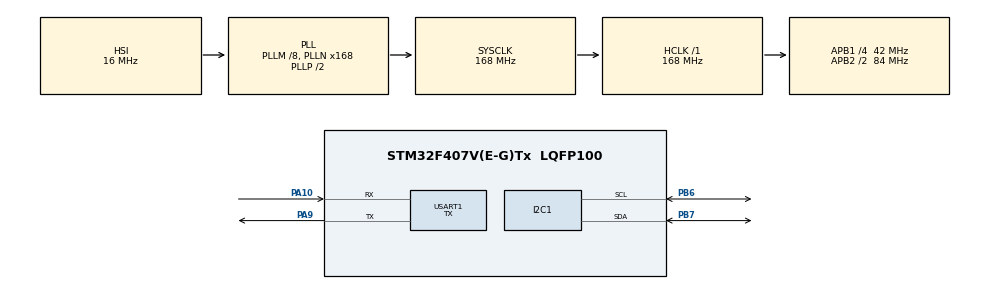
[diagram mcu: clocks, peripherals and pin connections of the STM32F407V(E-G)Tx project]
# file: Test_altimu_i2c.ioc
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I2C1.DutyCycle=I2C_DUTYCYCLE_16_9
I2C1.I2C_Mode=I2C_Fast
Mcu.Family=STM32F4
Mcu.Name=STM32F407V(E-G)Tx
Mcu.Package=LQFP100
NVIC.PriorityGroup=NVIC_PRIORITYGROUP_4
PA10.Mode=Asynchronous
PA10.Signal=USART1_RX
PA9.Mode=Asynchronous
PA9.Signal=USART1_TX
PB6.Mode=I2C
PB6.Signal=I2C1_SCL
PB7.Mode=I2C
PB7.Signal=I2C1_SDA
ProjectManager.HeapSize=0x200
ProjectManager.StackSize=0x400
ProjectManager.TargetToolchain=MDK-ARM V5
RCC.48MHZClocksFreq_Value=84000000
RCC.AHBFreq_Value=168000000
RCC.APB1CLKDivider=RCC_HCLK_DIV4
RCC.APB1Freq_Value=42000000
RCC.APB1TimFreq_Value=84000000
RCC.APB2CLKDivider=RCC_HCLK_DIV2
RCC.APB2Freq_Value=84000000
RCC.APB2TimFreq_Value=168000000
RCC.CortexFreq_Value=168000000
RCC.HCLKFreq_Value=168000000
RCC.HSE_VALUE=25000000
RCC.HSI_VALUE=16000000
RCC.LSE_VALUE=32768
RCC.PLLM=8
RCC.PLLN=168
RCC.SYSCLKFreq_VALUE=168000000
RCC.SYSCLKSource=RCC_SYSCLKSOURCE_PLLCLK
RCC.VCOOutputFreq_Value=336000000
USART1.Mode=MODE_TX
USART1.VirtualMode=VM_ASYNC
board=Test_altimu_i2c

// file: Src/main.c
/**
  ******************************************************************************
  * @file           : main.c
  * @brief          : Main program body
  ******************************************************************************
  ** This notice applies to any and all portions of this file
  * that are not between comment pairs USER CODE BEGIN and
  * USER CODE END. Other portions of this file, whether
  * inserted by the user or by software development tools
  * are owned by their respective copyright owners.
  *
  * COPYRIGHT(c) 2018 STMicroelectronics
  *
  * Redistribution and use in source and binary forms, with or without modification,
  * are permitted provided that the following conditions are met:
  *   1. Redistributions of source code must retain the above copyright notice,
  *      this list of conditions and the following disclaimer.
  *   2. Redistributions in binary form must reproduce the above copyright notice,
  *      this list of conditions and the following disclaimer in the documentation
  *      and/or other materials provided with the distribution.
  *   3. Neither the name of STMicroelectronics nor the names of its contributors
  *      may be used to endorse or promote products derived from this software
  *      without specific prior written permission.
  *
  * THIS SOFTWARE IS PROVIDED BY THE COPYRIGHT HOLDERS AND CONTRIBUTORS "AS IS"
  * AND ANY EXPRESS OR IMPLIED WARRANTIES, INCLUDING, BUT NOT LIMITED TO, THE
  * IMPLIED WARRANTIES OF MERCHANTABILITY AND FITNESS FOR A PARTICULAR PURPOSE ARE
  * DISCLAIMED. IN NO EVENT SHALL THE COPYRIGHT HOLDER OR CONTRIBUTORS BE LIABLE
  * FOR ANY DIRECT, INDIRECT, INCIDENTAL, SPECIAL, EXEMPLARY, OR CONSEQUENTIAL
  * DAMAGES (INCLUDING, BUT NOT LIMITED TO, PROCUREMENT OF SUBSTITUTE GOODS OR
  * SERVICES; LOSS OF USE, DATA, OR PROFITS; OR BUSINESS INTERRUPTION) HOWEVER
  * CAUSED AND ON ANY THEORY OF LIABILITY, WHETHER IN CONTRACT, STRICT LIABILITY,
  * OR TORT (INCLUDING NEGLIGENCE OR OTHERWISE) ARISING IN ANY WAY OUT OF THE USE
  * OF THIS SOFTWARE, EVEN IF ADVISED OF THE POSSIBILITY OF SUCH DAMAGE.
  *
  ******************************************************************************
  */
#include "main.h"
#include "stm32f4xx_hal.h"
/* USER CODE BEGIN Includes */
#include <math.h>
//#include <conio.h>
/* USER CODE END Includes */

I2C_HandleTypeDef hi2c1;

UART_HandleTypeDef huart1;

/* USER CODE BEGIN PV */
/* Private variables ---------------------------------------------------------*/

/* THIS CODE IS WRITTEN FOR ON STM32F407
 * USING 12C1 AT FAST MODE
 * USING USART1 AT 115200 BAUDRATE
 * SCL PB6
 * SDA PB7
 * VIN VCC
 * GND GND
 * SA0 GND
 */

/*** LPS25H Barometer DEFINED USING DATASHEET***/
#define LPS_HIGH_ADDRESS  		0x5D<<1
#define LPS_LOW_ADDRESS  			0x5C<<1
#define WHO_AM_I_REG_LPS   	 	0x0F	//0xBD

#define REF_P_XL_LPS 					0x08
#define REF_P_L_LPS 					0x09
#define REF_P_H_LPS 					0x0A

#define RES_CONF_LPS    			0x10

#define CTRL1_REG_LPS					0x20
#define CTRL2_REG_LPS					0x21
#define CTRL3_REG_LPS					0x22
#define CTRL4_REG_LPS					0x23

#define STATUS_REG_LPS				0x27

#define PRESS_OUT_XL_LPS			0x28
#define PRESS_OUT_L_LPS				0x29
#define PRESS_OUT_H_LPS				0X2A

#define TEMP_OUT_L_LPS    		0X2B
#define TEMP_OUT_H_LPS    		0X2C

#define FIFO_CTRL_LPS					0x2E
#define FIFO_STATUS_LPS				0x2F

#define RPDS_L_LPS						0x39
#define RPDS_H_LPS						0x3A

#define LPS25H_INTERRUPT_CFG  0x24
#define LPS25H_INT_SOURCE     0x25
#define LPS25H_THS_P_L        0x30
#define LPS25H_THS_P_H			  0x31

/*** LIS3MDL Magnetometer DEFINED USING DATASHEET***/
#define LIS_HIGH_ADDRESS  		0x1E<<1
#define LIS_LOW_ADDRESS   		0x1C<<1
#define WHO_AM_I_REG_LIS  		0x0F	// 0x3D

#define CTRL_REG1_LIS   			0x20
#define CTRL_REG2_LIS   			0x21
#define CTRL_REG3_LIS   			0x22
#define CTRL_REG4_LIS   			0x23
#define CTRL_REG5_LIS   			0x24

#define STATUS_REG_LIS  			0x27
#define OUT_X_L_LIS     			0x28
#define OUT_X_H_LIS     			0x29
#define OUT_Y_L_LIS     			0x2A
#define OUT_Y_H_LIS     			0x2B
#define OUT_Z_L_LIS     			0x2C
#define OUT_Z_H_LIS     			0x2D
#define TEMP_OUT_L_LIS  			0x2E
#define TEMP_OUT_H_LIS  			0x2F
#define INT_CFG_LIS     			0x30
#define INT_SRC_LIS     			0x31
#define INT_THS_L_LIS   			0x32
#define INT_THS_H_LIS   			0x33

/*** LSM6DS33 Gyro and Accelerometer DEFINED USING DATASHEET***/
#define LSM_HIGH_ADDRESS  		0x6B<<1
#define LSM_LOW_ADDRESS   		0x6A<<1
#define WHO_AM_I_LSM          0x0F	// 0x69

#define FUNC_CFG_ACCESS_LSM   0x01
#define FIFO_CTRL1_LSM        0x06
#define FIFO_CTRL2_LSM        0x07
#define FIFO_CTRL3_LSM        0x08
#define FIFO_CTRL4_LSM        0x09
#define FIFO_CTRL5_LSM        0x0A
#define ORIENT_CFG_G_LSM      0x0B

#define INT1_CTRL_LSM         0x0D
#define INT2_CTRL_LSM         0x0E
#define CTRL1_XL_LSM          0x10
#define CTRL2_G_LSM           0x11
#define CTRL3_C_LSM           0x12
#define CTRL4_C_LSM           0x13
#define CTRL5_C_LSM           0x14
#define CTRL6_C_LSM           0x15
#define CTRL7_G_LSM           0x16
#define CTRL8_XL_LSM          0x17
#define CTRL9_XL_LSM          0x18
#define CTRL10_C_LSM          0x19

#define WAKE_UP_SRC_LSM       0x1B
#define TAP_SRC_LSM           0x1C
#define D6D_SRC_LSM           0x1D
#define STATUS_REG_LSM        0x1E

#define OUT_TEMP_L_LSM        0x20
#define OUT_TEMP_H_LSM        0x21
#define OUTX_L_G_LSM          0x22
#define OUTX_H_G_LSM          0x23
#define OUTY_L_G_LSM          0x24
#define OUTY_H_G_LSM          0x25
#define OUTZ_L_G_LSM          0x26
#define OUTZ_H_G_LSM          0x27
#define OUTX_L_XL_LSM         0x28
#define OUTX_H_XL_LSM         0x29
#define OUTY_L_XL_LSM         0x2A
#define OUTY_H_XL_LSM         0x2B
#define OUTZ_L_XL_LSM         0x2C
#define OUTZ_H_XL_LSM         0x2D

#define FIFO_STATUS1_LSM      0x3A
#define FIFO_STATUS2_LSM      0x3B
#define FIFO_STATUS3_LSM      0x3C
#define FIFO_STATUS4_LSM      0x3D
#define FIFO_DATA_OUT_L_LSM   0x3E
#define FIFO_DATA_OUT_H_LSM   0x3F
#define TIMESTAMP0_REG_LSM    0x40
#define TIMESTAMP1_REG_LSM    0x41
#define TIMESTAMP2_REG_LSM    0x42

#define STEP_TIMESTAMP_L_LSM  0x49
#define STEP_TIMESTAMP_H_LSM  0x4A
#define STEP_COUNTER_L_LSM    0x4B
#define STEP_COUNTER_H_LSM    0x4C

#define FUNC_SRC_LSM         0x53

#define TAP_CFG_LSM           0x58
#define TAP_THS_6D_LSM        0x59
#define INT_DUR2_LSM          0x5A
#define WAKE_UP_THS_LSM       0x5B
#define WAKE_UP_DUR_LSM       0x5C
#define FREE_FALL_LSM         0x5D
#define MD1_CFG_LSM           0x5E
#define MD2_CFG_LSM           0x5F

uint8_t devAdd_LPS = LPS_HIGH_ADDRESS;
uint8_t devAdd_LIS = LIS_HIGH_ADDRESS;
uint8_t devAdd_LSM = LSM_HIGH_ADDRESS;
uint8_t rxBuf[3];

/* USER CODE END PV */

void SystemClock_Config(void);
static void MX_GPIO_Init(void);
static void MX_I2C1_Init(void);
static void MX_USART1_UART_Init(void);

/* USER CODE BEGIN PFP */
/* Private function prototypes -----------------------------------------------*/

#ifdef __GNUC__
  /* With GCC/RAISONANCE, small printf (option LD Linker->Libraries->Small printf
     set to 'Yes') calls __io_putchar() */
  #define PUTCHAR_PROTOTYPE int __io_putchar(int ch)
#else
  #define PUTCHAR_PROTOTYPE int fputc(int ch, FILE *f)
#endif /* __GNUC__ */

/**
* @brief Retargets the C library printf function to the USART.
* @param None
* @retval None*/
PUTCHAR_PROTOTYPE {
	HAL_UART_Transmit(&huart1, (uint8_t*)&ch, 1, 100);
	return ch;
}

/*****************LPS*****************/
void LPS_init() {
	uint8_t rxBuffer[2];
	uint8_t txdata[2];
	// PAGE 24 DATASHEET
	// WHO AM I, 0xBD - 189
	txdata[0] = WHO_AM_I_REG_LPS;
	HAL_I2C_Master_Transmit(&hi2c1, devAdd_LPS, &txdata[0], 1, 100);
	HAL_Delay(10);
	HAL_I2C_Master_Receive(&hi2c1, devAdd_LPS, rxBuffer, 1, 100);
	HAL_Delay(10);
	printf("Who Am I : 0x%x\n\r",rxBuffer[0]);

	// PAGE 24 DATASHEET
	// 0xB0 = 0b10110000
	// PD = 1 (active mode);  ODR = 011 (12.5 Hz pressure & temperature output data rate)
	txdata[0] = CTRL1_REG_LPS;
	txdata[1] = 0xB0;
	HAL_I2C_Master_Transmit(&hi2c1, devAdd_LPS, txdata, 2, 100);
	HAL_Delay(10);
	HAL_I2C_Master_Receive(&hi2c1, devAdd_LPS, rxBuffer, 2, 100);
	HAL_Delay(10);

}

// reads pressure in millibars (mbar)/hectopascals (hPa)
float readPressure() {
	// PAGE 33 DATASHEET
	// assert MSB to enable register address auto-increment
	uint8_t rxBuffer[3];
	uint8_t register_pointer = PRESS_OUT_XL_LPS | (1<<7);
	HAL_I2C_Master_Transmit(&hi2c1, devAdd_LPS, &register_pointer, 1, 100);
	HAL_Delay(20);
	HAL_I2C_Master_Receive(&hi2c1, devAdd_LPS, rxBuffer, 3, 100);
	HAL_Delay(20);

	float readVal = (int32_t)(int8_t)rxBuffer[2]<<16 | (uint16_t)rxBuffer[1]<<8 | rxBuffer[0];
	return (float)readVal / 4096;

}

// converts pressure in mbar to altitude in meters, using 1976 US
// Standard Atmosphere model (note that this formula only applies to a
// height of 11 km, or about 36000 ft)
//  If altimeter setting (QNH, barometric pressure adjusted to sea
//  level) is given, this function returns an indicated altitude
//  compensated for actual regional pressure; otherwise, it returns
//  the pressure altitude above the standard pressure level of 1013.25
//  mbar or 29.9213 inHg
float pressureToAltitudeMeters(float pressure_mbar){

	return (float)(1 - pow(pressure_mbar / 1013, 0.190263)) * 44330.8;

}

float readTemperature() {
	// PAGE 34 DATASHEET
	// assert MSB to enable register address auto-increment
	uint8_t rxBuffer[2];
	uint8_t register_pointer = TEMP_OUT_L_LPS | (1 << 7);
	HAL_I2C_Master_Transmit(&hi2c1, devAdd_LPS, &register_pointer, 1, 100);
	HAL_Delay(20);
	HAL_I2C_Master_Receive(&hi2c1, devAdd_LPS, rxBuffer, 2, 100);
	HAL_Delay(20);

	float readVal = (int16_t)(rxBuffer[1] << 8 | rxBuffer[0]);
	return (float)(42.5 + (float)readVal / 480);

}

/*****************LIS*****************
Enables the LIS3MDL's magnetometer. Also:
- Selects ultra-high-performance mode for all axes
- Sets ODR (output data rate) to default power-on value of 10 Hz
- Sets magnetometer full scale (gain) to default power-on value of +/- 4 gauss
- Enables continuous conversion mode
Note that this function will also reset other settings controlled by
the registers it writes to.
*/
void LIS_init() {
	uint8_t rxBuffer[2];
	uint8_t txdata[2];
	// PAGE 24 DATASHEET
	// WHO AM I, 0x3D - 61
	txdata[0] = WHO_AM_I_REG_LIS;
	HAL_I2C_Master_Transmit(&hi2c1, devAdd_LIS, &txdata[0], 1, 100);
	HAL_Delay(10);
	HAL_I2C_Master_Receive(&hi2c1, devAdd_LIS, rxBuffer, 1, 100);
	HAL_Delay(10);
	printf("Who Am I : 0x%x\n\r",rxBuffer[0]);

	// 0x70 = 0b01110000
	// OM = 11 (ultra-high-performance mode for X and Y); DO = 100 (10 Hz ODR)
	txdata[0] = CTRL_REG1_LIS;
	txdata[1] = 0x70;
	HAL_I2C_Master_Transmit(&hi2c1, devAdd_LIS, txdata, 2, 100);
	HAL_Delay(10);
	HAL_I2C_Master_Receive(&hi2c1, devAdd_LIS, rxBuffer, 2, 100);
	HAL_Delay(10);

	// 0x00 = 0b00000000
	// FS = 00 (+/- 4 gauss full scale)
	txdata[0] = CTRL_REG2_LIS;
	txdata[1] = 0x00;
	HAL_I2C_Master_Transmit(&hi2c1, devAdd_LIS, txdata, 2, 100);
	HAL_Delay(10);
	HAL_I2C_Master_Receive(&hi2c1, devAdd_LIS, rxBuffer, 2, 100);
	HAL_Delay(10);

	// 0x00 = 0b00000000
	// MD = 00 (continuous-conversion mode)
	txdata[0] = CTRL_REG3_LIS;
	txdata[1] = 0x00;
	HAL_I2C_Master_Transmit(&hi2c1, devAdd_LIS, txdata, 2, 100);
	HAL_Delay(10);
	HAL_I2C_Master_Receive(&hi2c1, devAdd_LIS, rxBuffer, 2, 100);
	HAL_Delay(10);

	// 0x0C = 0b00001100
	// OMZ = 11 (ultra-high-performance mode for Z)
	txdata[0] = CTRL_REG4_LIS;
	txdata[1] = 0x0C;
	HAL_I2C_Master_Transmit(&hi2c1, devAdd_LIS, txdata, 2, 100);
	HAL_Delay(10);
	HAL_I2C_Master_Receive(&hi2c1, devAdd_LIS, rxBuffer, 2, 100);
	HAL_Delay(10);

}

//read magnometer
void readLIS(){
//	uint16_t *m = malloc(3)
	uint8_t rxBuffer[6];
	uint8_t register_pointer = OUT_X_L_LIS | 0x80;
	HAL_I2C_Master_Transmit(&hi2c1, devAdd_LIS, &register_pointer, 1, 100);
	HAL_Delay(20);
	HAL_I2C_Master_Receive(&hi2c1, devAdd_LIS, rxBuffer, 6, 100);
	HAL_Delay(20);
	uint8_t xlm = rxBuffer[0];
	uint8_t xhm = rxBuffer[1];
	uint8_t ylm = rxBuffer[2];
	uint8_t yhm = rxBuffer[3];
	uint8_t zlm = rxBuffer[4];
	uint8_t zhm = rxBuffer[5];

	int16_t m[3];
	m[0] = (int16_t)(xhm<<8 | xlm);
	m[1] = (int16_t)(yhm<<8 | ylm);
	m[2] = (int16_t)(zhm<<8 | zlm);
	printf("Mag - x: %i, y: %i, z:%i\n\r",m[0], m[1], m[2]);

}

/*****************LSM*****************
Enables the LSM6's accelerometer and gyro. Also:
- Sets sensor full scales (gain) to default power-on values, which are
  +/- 2 g for accelerometer and 245 dps for gyro
- Selects 1.66 kHz (high performance) ODR (output data rate) for accelerometer
  and 1.66 kHz (high performance) ODR for gyro. (These are the ODR settings for
  which the electrical characteristics are specified in the datasheet.)
- Enables automatic increment of register address during multiple byte access
Note that this function will also reset other settings controlled by
the registers it writes to.
*/
void LSM_init() {
	uint8_t rxBuffer[2];
	uint8_t txdata[2];

	// WHO AM I, 0x69, 105
	txdata[0] = WHO_AM_I_LSM;
	HAL_I2C_Master_Transmit(&hi2c1, devAdd_LSM, &txdata[0], 1, 100);
	HAL_Delay(10);
	HAL_I2C_Master_Receive(&hi2c1, devAdd_LSM, rxBuffer, 1, 100);
	HAL_Delay(10);
	printf("Who Am I : 0x%x\n\r", rxBuffer[0]);

	// Accelerometer
	// 0x80 = 0b10000000
	// ODR = 1000 (1.66 kHz (high performance)); FS_XL = 00 (+/-2 g full scale)
	txdata[0] = CTRL1_XL_LSM;
	txdata[1] = 0x80;
	HAL_I2C_Master_Transmit(&hi2c1, devAdd_LSM, txdata, 2, 100);
	HAL_Delay(10);
	HAL_I2C_Master_Receive(&hi2c1, devAdd_LSM, rxBuffer, 2, 100);
	HAL_Delay(10);

	// Gyro
	// 0x80 = 0b010000000
	// ODR = 1000 (1.66 kHz (high performance)); FS_XL = 00 (245 dps)
	txdata[0] = CTRL2_G_LSM;
	txdata[1] = 0x80;
	HAL_I2C_Master_Transmit(&hi2c1, devAdd_LSM, txdata, 2, 100);
	HAL_Delay(10);
	HAL_I2C_Master_Receive(&hi2c1, devAdd_LSM, rxBuffer, 2, 100);
	HAL_Delay(10);

	// Common
	// 0x04 = 0b00000100
	// IF_INC = 1 (automatically increment register address)
	txdata[0] = CTRL3_C_LSM;
	txdata[1] = 0x04;
	HAL_I2C_Master_Transmit(&hi2c1, devAdd_LSM, txdata, 2, 100);
	HAL_Delay(10);
	HAL_I2C_Master_Receive(&hi2c1, devAdd_LSM, rxBuffer, 2, 100);
	HAL_Delay(10);

}

void readAcc(){
	uint8_t rxBuffer[6];
	uint8_t register_pointer = OUTX_L_XL_LSM;
	HAL_I2C_Master_Transmit(&hi2c1, devAdd_LSM, &register_pointer, 1, 100);
	HAL_Delay(20);
	HAL_I2C_Master_Receive(&hi2c1, devAdd_LSM, rxBuffer, 6, 100);
	HAL_Delay(20);

	int16_t ax,ay,az;
	ax = (int16_t)(rxBuffer[1] << 8 | rxBuffer[0]);
  ay = (int16_t)(rxBuffer[3] << 8 | rxBuffer[2]);
  az = (int16_t)(rxBuffer[5] << 8 | rxBuffer[4]);

	printf("Acc - x: %i, y: %i, z:%i\n\r",ax,ay,az);

}

void readGyro(){
	uint8_t rxBuffer[6];
	uint8_t register_pointer = OUTX_L_G_LSM;
	HAL_I2C_Master_Transmit(&hi2c1, devAdd_LSM, &register_pointer, 1, 100);
	HAL_Delay(20);
	HAL_I2C_Master_Receive(&hi2c1, devAdd_LSM, rxBuffer, 6, 100);
	HAL_Delay(20);

	int16_t gx,gy,gz;
	gx = (int16_t)(rxBuffer[1] << 8 | rxBuffer[0]);
  gy = (int16_t)(rxBuffer[3] << 8 | rxBuffer[2]);
  gz = (int16_t)(rxBuffer[5] << 8 | rxBuffer[4]);

	printf("Gyro - x: %i, y: %i, z:%i\n\r", gx, gy, gz);

}

/* USER CODE END PFP */

int main(void)
{

  /* MCU Configuration----------------------------------------------------------*/

  /* Reset of all peripherals, Initializes the Flash interface and the Systick. */
  HAL_Init();

  /* Configure the system clock */
  SystemClock_Config();

  /* Initialize all configured peripherals */
  MX_GPIO_Init();
  MX_I2C1_Init();
  MX_USART1_UART_Init();
  /* USER CODE BEGIN 2 */
	/* Checks if target device is ready for communication. 3 is number of trials, 1000ms is timeout */

	// https://github.com/pololu/lps-arduino/blob/master/LPS.cpp
	// https://www.eedblog.com/2018/02/03/eedblog-2-how-to-use-hal-library-i2c-functions/
  // https://electronics.stackexchange.com/questions/244491/addressing-registers-with-i2c-stm32f0-hal-libraries

	if (HAL_I2C_IsDeviceReady(&hi2c1, devAdd_LPS, 3, 1000) != HAL_OK) {
		printf("LPS25H IsDeviceReady ERROR!!! \n\r");
		/* Return error */
		return HAL_ERROR;
	}
	HAL_Delay(200);
	LPS_init();

	if (HAL_I2C_IsDeviceReady(&hi2c1, devAdd_LIS, 3, 1000) != HAL_OK) {
		printf("LIS3MDL IsDeviceReady ERROR!!! \n\r");
		/* Return error */
		return HAL_ERROR;
	}
	HAL_Delay(200);
	LIS_init();

	if (HAL_I2C_IsDeviceReady(&hi2c1, devAdd_LIS, 3, 1000) != HAL_OK) {
		printf("LSM6DS33 IsDeviceReady ERROR!!! \n\r");
		/* Return error */
		return HAL_ERROR;
	}
	HAL_Delay(200);
	LSM_init();

  /* USER CODE END 2 */

  /* Infinite loop */
  /* USER CODE BEGIN WHILE */
	printf("\n\n\n\r Start while loop!!\n\r");
  while (1) {
  /* USER CODE END WHILE */

  /* USER CODE BEGIN 3 */
	printf("\n\r**********\n\r");
	HAL_Delay(1000);
	/*Measurements from LPS*/
	float pressure = readPressure();
	printf("Pressure - P: %f (mbar)/hectopascals (hPa)\n\r", pressure);
  float altitude = pressureToAltitudeMeters(pressure);
	printf("Altitude - P: %f meters \n\r", altitude);
	float temperature = readTemperature();
	printf("Temperature - P: %f C \n\r", temperature);

	/*Measurements from LIS, magnometer*/
	readLIS();

	/*Measurements from LSM6*/
	readAcc();
	readGyro();

  /* USER CODE END 3 */

	}
}

void SystemClock_Config(void)
{

  RCC_OscInitTypeDef RCC_OscInitStruct;
  RCC_ClkInitTypeDef RCC_ClkInitStruct;

    /**Configure the main internal regulator output voltage
    */
  __HAL_RCC_PWR_CLK_ENABLE();

  __HAL_PWR_VOLTAGESCALING_CONFIG(PWR_REGULATOR_VOLTAGE_SCALE1);

    /**Initializes the CPU, AHB and APB busses clocks
    */
  RCC_OscInitStruct.OscillatorType = RCC_OSCILLATORTYPE_HSI;
  RCC_OscInitStruct.HSIState = RCC_HSI_ON;
  RCC_OscInitStruct.HSICalibrationValue = 16;
  RCC_OscInitStruct.PLL.PLLState = RCC_PLL_ON;
  RCC_OscInitStruct.PLL.PLLSource = RCC_PLLSOURCE_HSI;
  RCC_OscInitStruct.PLL.PLLM = 8;
  RCC_OscInitStruct.PLL.PLLN = 168;
  RCC_OscInitStruct.PLL.PLLP = RCC_PLLP_DIV2;
  RCC_OscInitStruct.PLL.PLLQ = 4;
  if (HAL_RCC_OscConfig(&RCC_OscInitStruct) != HAL_OK)
  {
    _Error_Handler(__FILE__, __LINE__);
  }

    /**Initializes the CPU, AHB and APB busses clocks
    */
  RCC_ClkInitStruct.ClockType = RCC_CLOCKTYPE_HCLK|RCC_CLOCKTYPE_SYSCLK
                              |RCC_CLOCKTYPE_PCLK1|RCC_CLOCKTYPE_PCLK2;
  RCC_ClkInitStruct.SYSCLKSource = RCC_SYSCLKSOURCE_PLLCLK;
  RCC_ClkInitStruct.AHBCLKDivider = RCC_SYSCLK_DIV1;
  RCC_ClkInitStruct.APB1CLKDivider = RCC_HCLK_DIV4;
  RCC_ClkInitStruct.APB2CLKDivider = RCC_HCLK_DIV2;

  if (HAL_RCC_ClockConfig(&RCC_ClkInitStruct, FLASH_LATENCY_5) != HAL_OK)
  {
    _Error_Handler(__FILE__, __LINE__);
  }

    /**Configure the Systick interrupt time
    */
  HAL_SYSTICK_Config(HAL_RCC_GetHCLKFreq()/1000);

    /**Configure the Systick
    */
  HAL_SYSTICK_CLKSourceConfig(SYSTICK_CLKSOURCE_HCLK);

  /* SysTick_IRQn interrupt configuration */
  HAL_NVIC_SetPriority(SysTick_IRQn, 0, 0);
}

/* I2C1 init function */
static void MX_I2C1_Init(void)
{

  hi2c1.Instance = I2C1;
  hi2c1.Init.ClockSpeed = 400000;
  hi2c1.Init.DutyCycle = I2C_DUTYCYCLE_16_9;
  hi2c1.Init.OwnAddress1 = 0;
  hi2c1.Init.AddressingMode = I2C_ADDRESSINGMODE_7BIT;
  hi2c1.Init.DualAddressMode = I2C_DUALADDRESS_DISABLE;
  hi2c1.Init.OwnAddress2 = 0;
  hi2c1.Init.GeneralCallMode = I2C_GENERALCALL_DISABLE;
  hi2c1.Init.NoStretchMode = I2C_NOSTRETCH_DISABLE;
  if (HAL_I2C_Init(&hi2c1) != HAL_OK)
  {
    _Error_Handler(__FILE__, __LINE__);
  }

}

/* USART1 init function */
static void MX_USART1_UART_Init(void)
{

  huart1.Instance = USART1;
  huart1.Init.BaudRate = 115200;
  huart1.Init.WordLength = UART_WORDLENGTH_8B;
  huart1.Init.StopBits = UART_STOPBITS_1;
  huart1.Init.Parity = UART_PARITY_NONE;
  huart1.Init.Mode = UART_MODE_TX;
  huart1.Init.HwFlowCtl = UART_HWCONTROL_NONE;
  huart1.Init.OverSampling = UART_OVERSAMPLING_16;
  if (HAL_UART_Init(&huart1) != HAL_OK)
  {
    _Error_Handler(__FILE__, __LINE__);
  }

}

/** Configure pins as
        * Analog
        * Input
        * Output
        * EVENT_OUT
        * EXTI
        * Free pins are configured automatically as Analog (this feature is enabled through
        * the Code Generation settings)
*/
static void MX_GPIO_Init(void)
{

  GPIO_InitTypeDef GPIO_InitStruct;

  /* GPIO Ports Clock Enable */
  __HAL_RCC_GPIOE_CLK_ENABLE();
  __HAL_RCC_GPIOC_CLK_ENABLE();
  __HAL_RCC_GPIOH_CLK_ENABLE();
  __HAL_RCC_GPIOA_CLK_ENABLE();
  __HAL_RCC_GPIOB_CLK_ENABLE();
  __HAL_RCC_GPIOD_CLK_ENABLE();

  /*Configure GPIO pins : PE2 PE3 PE4 PE5
                           PE6 PE7 PE8 PE9
                           PE10 PE11 PE12 PE13
                           PE14 PE15 PE0 PE1 */
  GPIO_InitStruct.Pin = GPIO_PIN_2|GPIO_PIN_3|GPIO_PIN_4|GPIO_PIN_5
                          |GPIO_PIN_6|GPIO_PIN_7|GPIO_PIN_8|GPIO_PIN_9
                          |GPIO_PIN_10|GPIO_PIN_11|GPIO_PIN_12|GPIO_PIN_13
                          |GPIO_PIN_14|GPIO_PIN_15|GPIO_PIN_0|GPIO_PIN_1;
  GPIO_InitStruct.Mode = GPIO_MODE_ANALOG;
  GPIO_InitStruct.Pull = GPIO_NOPULL;
  HAL_GPIO_Init(GPIOE, &GPIO_InitStruct);

  /*Configure GPIO pins : PC13 PC14 PC15 PC0
                           PC1 PC2 PC3 PC4
                           PC5 PC6 PC7 PC8
                           PC9 PC10 PC11 PC12 */
  GPIO_InitStruct.Pin = GPIO_PIN_13|GPIO_PIN_14|GPIO_PIN_15|GPIO_PIN_0
                          |GPIO_PIN_1|GPIO_PIN_2|GPIO_PIN_3|GPIO_PIN_4
                          |GPIO_PIN_5|GPIO_PIN_6|GPIO_PIN_7|GPIO_PIN_8
                          |GPIO_PIN_9|GPIO_PIN_10|GPIO_PIN_11|GPIO_PIN_12;
  GPIO_InitStruct.Mode = GPIO_MODE_ANALOG;
  GPIO_InitStruct.Pull = GPIO_NOPULL;
  HAL_GPIO_Init(GPIOC, &GPIO_InitStruct);

  /*Configure GPIO pins : PH0 PH1 */
  GPIO_InitStruct.Pin = GPIO_PIN_0|GPIO_PIN_1;
  GPIO_InitStruct.Mode = GPIO_MODE_ANALOG;
  GPIO_InitStruct.Pull = GPIO_NOPULL;
  HAL_GPIO_Init(GPIOH, &GPIO_InitStruct);

  /*Configure GPIO pins : PA0 PA1 PA2 PA3
                           PA4 PA5 PA6 PA7
                           PA8 PA11 PA12 PA13
                           PA14 PA15 */
  GPIO_InitStruct.Pin = GPIO_PIN_0|GPIO_PIN_1|GPIO_PIN_2|GPIO_PIN_3
                          |GPIO_PIN_4|GPIO_PIN_5|GPIO_PIN_6|GPIO_PIN_7
                          |GPIO_PIN_8|GPIO_PIN_11|GPIO_PIN_12|GPIO_PIN_13
                          |GPIO_PIN_14|GPIO_PIN_15;
  GPIO_InitStruct.Mode = GPIO_MODE_ANALOG;
  GPIO_InitStruct.Pull = GPIO_NOPULL;
  HAL_GPIO_Init(GPIOA, &GPIO_InitStruct);

  /*Configure GPIO pins : PB0 PB1 PB2 PB10
                           PB11 PB12 PB13 PB14
                           PB15 PB3 PB4 PB5
                           PB8 PB9 */
  GPIO_InitStruct.Pin = GPIO_PIN_0|GPIO_PIN_1|GPIO_PIN_2|GPIO_PIN_10
                          |GPIO_PIN_11|GPIO_PIN_12|GPIO_PIN_13|GPIO_PIN_14
                          |GPIO_PIN_15|GPIO_PIN_3|GPIO_PIN_4|GPIO_PIN_5
                          |GPIO_PIN_8|GPIO_PIN_9;
  GPIO_InitStruct.Mode = GPIO_MODE_ANALOG;
  GPIO_InitStruct.Pull = GPIO_NOPULL;
  HAL_GPIO_Init(GPIOB, &GPIO_InitStruct);

  /*Configure GPIO pins : PD8 PD9 PD10 PD11
                           PD12 PD13 PD14 PD15
                           PD0 PD1 PD2 PD3
                           PD4 PD5 PD6 PD7 */
  GPIO_InitStruct.Pin = GPIO_PIN_8|GPIO_PIN_9|GPIO_PIN_10|GPIO_PIN_11
                          |GPIO_PIN_12|GPIO_PIN_13|GPIO_PIN_14|GPIO_PIN_15
                          |GPIO_PIN_0|GPIO_PIN_1|GPIO_PIN_2|GPIO_PIN_3
                          |GPIO_PIN_4|GPIO_PIN_5|GPIO_PIN_6|GPIO_PIN_7;
  GPIO_InitStruct.Mode = GPIO_MODE_ANALOG;
  GPIO_InitStruct.Pull = GPIO_NOPULL;
  HAL_GPIO_Init(GPIOD, &GPIO_InitStruct);

}

void _Error_Handler(char *file, int line)
{
  while(1)
  {
  }
}

/************************ (C) COPYRIGHT STMicroelectronics *****END OF FILE****/
